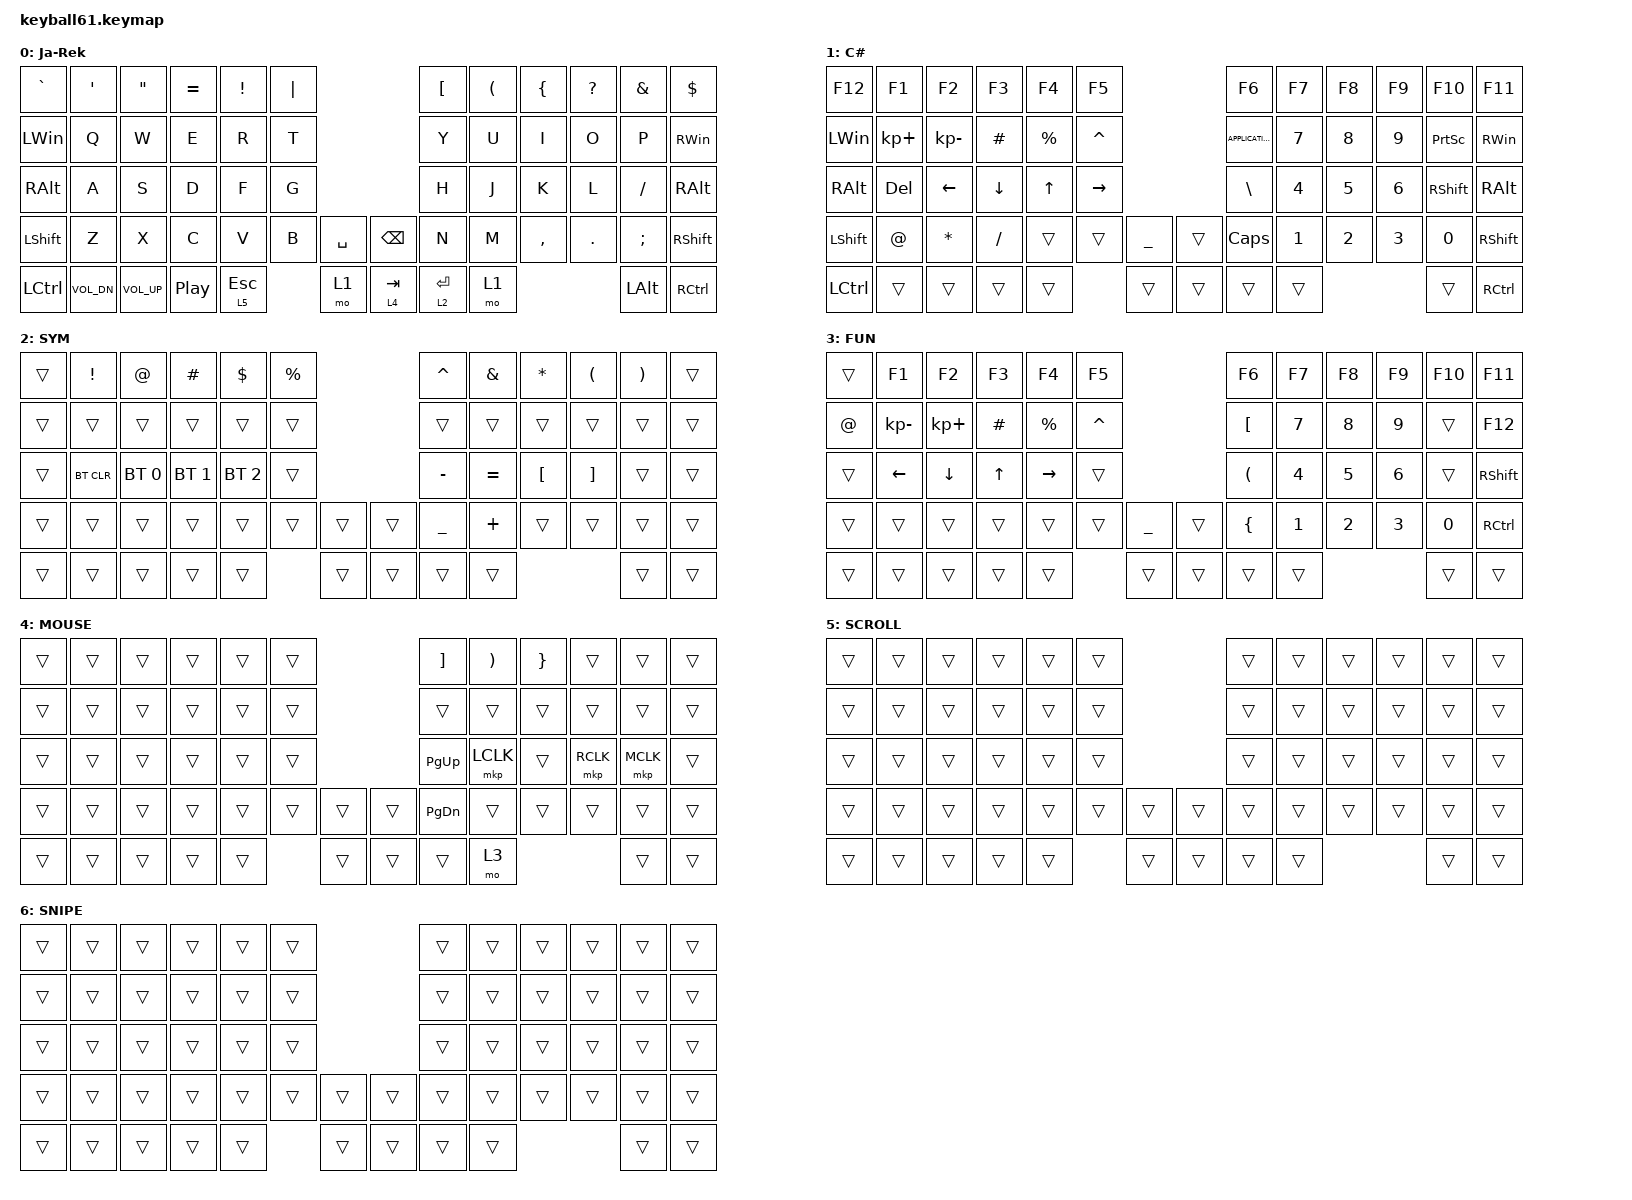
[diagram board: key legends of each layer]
#define Ja-Rek  0
#define C#      1
#define SYM     2
#define MOUSE   3 // Auto-Mouse Layer
#define SCROLL  4 // Motion Scroll Layer
#define SNIPE   5 // Snipe Mode Layer

#include <behaviors/mouse_keys.dtsi>
#include <behaviors.dtsi>
#include <dt-bindings/zmk/bt.h>
#include <dt-bindings/zmk/keys.h>
#include <dt-bindings/zmk/mouse.h>

&lt {
    tapping-term-ms = <240>;
    flavor = "balanced";
    quick-tap-ms = <150>;
};

&mt {
    tapping-term-ms = <200>;
    flavor = "tap-preferred";
    quick-tap-ms = <150>;
};

/ {
    keymap {
        compatible = "zmk,keymap";

default_layer {
    label = "Ja-Rek";
    bindings = <
        &kp GRAVE      &kp APOSTROPHE  &kp DOUBLE_QUOTES   &kp EQUAL        &kp EXCLAMATION  &kp PIPE                                       &kp LEFT_BRACKET  &kp LEFT_PARENTHESIS    &kp LEFT_BRACE    &kp QUESTION    &kp AMPERSAND   &kp DOLLAR
        &kp LEFT_WIN   &kp Q              &kp W            &kp E            &kp R            &kp T                                          &kp Y             &kp U                   &kp I             &kp O           &kp P           &kp RIGHT_WIN
        &kp RIGHT_ALT  &kp A              &kp S            &kp D            &kp F            &kp G                                          &kp H             &kp J                   &kp K             &kp L           &kp FSLH        &kp RIGHT_ALT
        &kp LEFT_SHIFT &kp Z              &kp X            &kp C            &kp V            &kp B      &kp SPACE         &kp BACKSPACE     &kp N             &kp M                   &kp COMMA         &kp DOT         &kp SEMI        &kp RIGHT_SHIFT
        &kp LCTRL      &kp C_VOL_DN       &kp C_VOL_UP     &kp C_PLAY_PAUSE         &lt 5 ESC        &mo 1      &lt 4 TAB         &lt 2 ENTER       &mo 1                                                                       &kp LEFT_ALT    &kp RCTRL
    >;
};
        number_layer {
            label = "C#";
            bindings = <
&kp F12          &kp F1        &kp F2       &kp F3      &kp F4      &kp F5                          &kp F6            &kp F7  &kp F8  &kp F9  &kp F10          &kp F11  
&kp LEFT_WIN     &kp KP_PLUS   &kp KP_MINUS &kp HASH    &kp PERCENT &kp CARET                       &kp K_APPLICATION &kp N7  &kp N8  &kp N9  &kp PSCRN        &kp RIGHT_WIN  
&kp RIGHT_ALT    &kp DEL       &kp LEFT     &kp DOWN    &kp UP      &kp RIGHT                       &kp BACKSLASH     &kp N4  &kp N5  &kp N6  &kp RIGHT_SHIFT  &kp RIGHT_ALT  
&kp LEFT_SHIFT   &kp AT_SIGN   &kp STAR     &kp SLASH   &trans      &trans  &kp UNDERSCORE  &trans  &kp CAPS          &kp N1  &kp N2  &kp N3  &kp N0           &kp RIGHT_SHIFT
&kp LCTRL        &trans        &trans       &trans      &trans      &trans  &trans          &trans  &trans                                    &trans           &kp RCTRL      
            >;
        };

        symbol_layer {
            label = "SYM";
            bindings = <
&trans  &kp EXCLAMATION  &kp AT_SIGN   &kp HASH      &kp DOLLAR    &kp PERCENT                  &kp CARET       &kp AMPERSAND  &kp ASTERISK      &kp LEFT_PARENTHESIS  &kp RIGHT_PARENTHESIS  &trans
&trans  &trans           &trans        &trans        &trans        &trans                       &trans          &trans         &trans            &trans                &trans                 &trans
&trans  &bt BT_CLR       &bt BT_SEL 0  &bt BT_SEL 1  &bt BT_SEL 2  &trans                       &kp MINUS       &kp EQUAL      &kp LEFT_BRACKET  &kp RIGHT_BRACKET     &trans                 &trans
&trans  &trans           &trans        &trans        &trans        &trans       &trans  &trans  &kp UNDERSCORE  &kp PLUS       &trans            &trans                &trans                 &trans
&trans  &trans           &trans        &trans        &trans        &trans       &trans  &trans  &trans                                                                 &trans                 &trans
            >;
        };

        function_layer {
            label = "FUN";
            bindings = <
&trans       &kp F1        &kp F2      &kp F3      &kp F4      &kp F5                          &kp F6                  &kp F7  &kp F8  &kp F9  &kp F10 &kp F11  
&kp AT_SIGN  &kp KP_MINUS  &kp KP_PLUS &kp HASH    &kp PERCENT &kp CARET                       &kp LEFT_BRACKET        &kp N7  &kp N8  &kp N9  &trans  &kp F12
&trans       &kp LEFT      &kp DOWN    &kp UP      &kp RIGHT   &trans                          &kp LEFT_PARENTHESIS    &kp N4  &kp N5  &kp N6  &trans  &kp RIGHT_SHIFT
&trans       &trans        &trans      &trans      &trans      &trans  &kp UNDERSCORE  &trans  &kp LEFT_BRACE          &kp N1  &kp N2  &kp N3  &kp N0  &kp RCTRL
&trans       &trans        &trans      &trans      &trans      &trans  &trans          &trans  &trans                                          &trans  &trans
            >;
        };

        mouse_layer {
            label = "MOUSE";
            bindings = <
&trans  &trans    &trans    &trans  &trans     &trans                  &kp RIGHT_BRACKET &kp RIGHT_PARENTHESIS &kp RIGHT_BRACE &trans    &trans    &trans
&trans  &trans    &trans    &trans  &trans     &trans                  &trans           &trans               &trans         &trans    &trans    &trans
&trans  &trans    &trans    &trans  &trans     &trans                  &kp PAGE_UP      &mkp LCLK            &trans         &mkp RCLK &mkp MCLK &trans
&trans  &trans    &trans    &trans  &trans     &trans  &trans  &trans  &kp PAGE_DOWN    &trans               &trans         &trans    &trans    &trans
&trans  &trans    &trans    &trans  &trans     &trans  &trans  &trans  &mo 3                                                &trans    &trans
            >;
        };

        scroll_layer {
            label = "SCROLL";
            bindings = <
&trans  &trans  &trans  &trans  &trans  &trans                  &trans  &trans  &trans  &trans  &trans  &trans
&trans  &trans  &trans  &trans  &trans  &trans                  &trans  &trans  &trans  &trans  &trans  &trans
&trans  &trans  &trans  &trans  &trans  &trans                  &trans  &trans  &trans  &trans  &trans  &trans
&trans  &trans  &trans  &trans  &trans  &trans  &trans  &trans  &trans  &trans  &trans  &trans  &trans  &trans
&trans  &trans  &trans  &trans  &trans  &trans  &trans  &trans  &trans                          &trans  &trans
            >;
        };

        snipe_layer {
            label = "SNIPE";
            bindings = <
&trans  &trans  &trans  &trans  &trans  &trans                  &trans  &trans  &trans  &trans  &trans  &trans
&trans  &trans  &trans  &trans  &trans  &trans                  &trans  &trans  &trans  &trans  &trans  &trans
&trans  &trans  &trans  &trans  &trans  &trans                  &trans  &trans  &trans  &trans  &trans  &trans
&trans  &trans  &trans  &trans  &trans  &trans  &trans  &trans  &trans  &trans  &trans  &trans  &trans  &trans
&trans  &trans  &trans  &trans  &trans  &trans  &trans  &trans  &trans                          &trans  &trans
            >;
        };
    };
};
